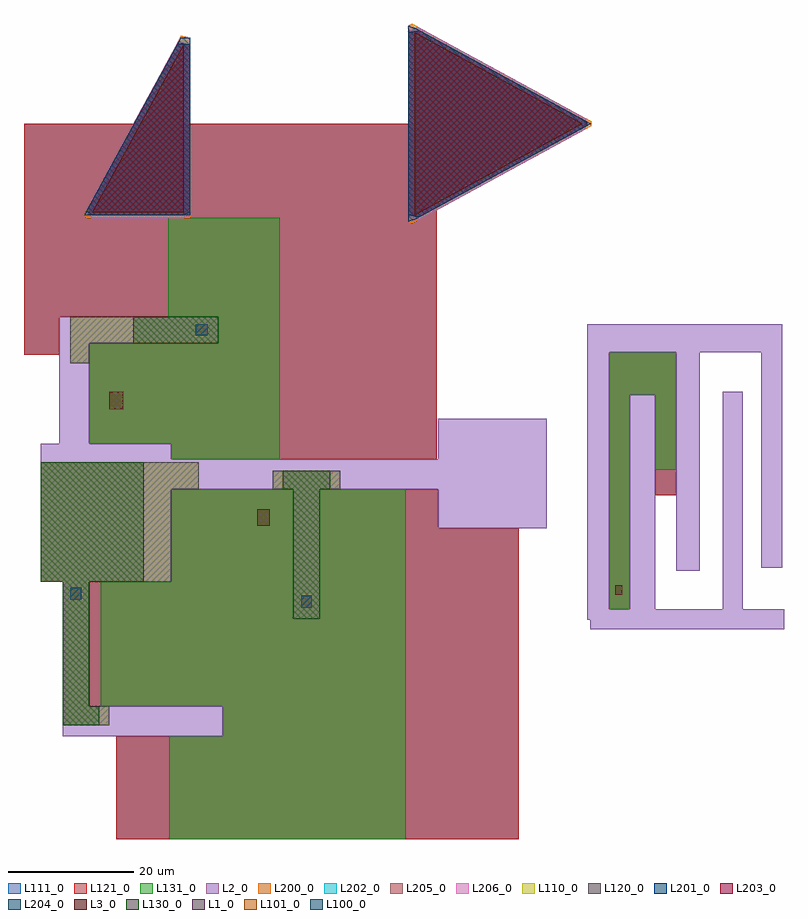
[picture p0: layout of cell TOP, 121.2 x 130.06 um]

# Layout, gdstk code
import gdstk
lib = gdstk.Library(unit=1e-6, precision=1e-09)
def R(c, l, rs):  # rectangles x0, y0, x1, y1
    for r in rs: c.add(gdstk.rectangle(r[:2], r[2:], *l))
def P(c, l, *ps):  # polygons
    for p in ps: c.add(gdstk.Polygon(p, *l))
L1_0 = (1, 0)
L2_0 = (2, 0)
L3_0 = (3, 0)
L100_0 = (100, 0)
L101_0 = (101, 0)
L110_0 = (110, 0)
L111_0 = (111, 0)
L120_0 = (120, 0)
L121_0 = (121, 0)
L130_0 = (130, 0)
L131_0 = (131, 0)
L200_0 = (200, 0)
L201_0 = (201, 0)
L202_0 = (202, 0)
L203_0 = (203, 0)
L204_0 = (204, 0)
L205_0 = (205, 0)
L206_0 = (206, 0)

top = lib.new_cell('TOP')
R(top, L1_0, [(9.6,-10.5,11.3,-8.6), (9.6,-10.5,11.3,-8.6), (-27.2,-9.2,-25.5,-7.3), (59.7,-8.4,60.8,-6.9), (2.6,2.6,4.6,5.2), (-21,21.2,-18.8,24), (-7.2,33,-5.3,34.7)])
R(top, L2_0, [(55.7,-13.9,86.6,-10.7), (55.2,-12.4,58.7,32), (62,-11.4,66.1,23.5), (76.8,-10.7,80,24), (-31.9,-6.3,-11.1,15.7), (69.4,-4.6,73.2,31.7), (83,-4.1,86.3,32), (31.5,2.2,48.8,19.7), (55.2,30.3,86.3,34.7)])
P(top, L2_0, [(8.3,-12.2),(8.3,8.4),(-13,8.4),(-13,13.2),(12.5,13.2),(12.5,-12.2)],
  [(8.3,-12.2),(8.3,8.4),(-13,8.4),(-13,13.2),(12.5,13.2),(12.5,-12.2)],
  [(-29,10.4),(-29,35.9),(-3.6,35.9),(-3.6,31.7),(-24.2,31.7),(-24.2,10.4)],
  [(-28.4,-31),(-28.4,-5.6),(-24.2,-5.6),(-24.2,-26.2),(-2.9,-26.2),(-2.9,-31)],
  [(8.4,-12.2),(8.4,13.2),(33.9,13.2),(33.9,8.4),(12.6,8.4),(12.6,-12.2)])
P(top, L3_0, [(-23.7,52.6),(-9.1,79.4),(-9.1,52.6)],
  [(27.7,66.7),(27.7,81.3),(54.5,66.7)],
  [(27.7,52.1),(27.7,66.7),(54.5,66.7)])
R(top, L100_0, [(9.6,-10.5,11.3,-8.6), (-27.2,-9.2,-25.5,-7.3), (-7.2,33,-5.3,34.7)])
R(top, L101_0, [(9.6,-10.5,11.3,-8.6), (9.6,-10.5,11.3,-8.6), (-27.2,-9.2,-25.5,-7.3), (59.7,-8.4,60.8,-6.9), (2.6,2.6,4.6,5.2), (-21,21.2,-18.8,24), (-7.2,33,-5.3,34.7)])
P(top, L110_0, [(-27.2,28.5),(-27.2,35.9),(-3.6,35.9),(-3.6,31.7),(-24.2,31.7),(-24.2,28.5)],
  [(-28.4,-29.2),(-28.4,-6.3),(-31.9,-6.3),(-31.9,12.7),(-6.7,12.7),(-6.7,8.4),(-11.1,8.4),(-11.1,-6.3),(-24.2,-6.3),(-24.2,-26.2),(-21,-26.2),(-21,-29.2)],
  [(8.3,-12.2),(8.3,8.4),(5.1,8.4),(5.1,11.4),(15.8,11.4),(15.8,8.4),(12.6,8.4),(12.6,-12.2)])
P(top, L111_0, [(-11.1,13.2),(-11.1,15.7),(-24.2,15.7),(-24.2,31.7),(-3.6,31.7),(-3.6,35.9),(-29,35.9),(-29,29.9),(-34.6,29.9),(-34.6,66.7),(31.2,66.7),(31.2,13.2)],
  [(58.7,-10.7),(58.7,30.3),(69.4,30.3),(69.4,7.5),(66.1,7.5),(66.1,23.5),(62,23.5),(62,-10.7)],
  [(-19.9,-47.4),(-19.9,-31),(-2.9,-31),(-2.9,-26.2),(-24.2,-26.2),(-24.2,-6.3),(-11.1,-6.3),(-11.1,8.4),(8.3,8.4),(8.3,-12.2),(12.6,-12.2),(12.6,8.4),(31.5,8.4),(31.5,2.2),(44.3,2.2),(44.3,-47.4)])
P(top, L120_0, [(-27.2,28.5),(-27.2,35.9),(-3.6,35.9),(-3.6,31.7),(-24.2,31.7),(-24.2,28.5)],
  [(-28.4,-29.2),(-28.4,-6.3),(-31.9,-6.3),(-31.9,12.7),(-6.7,12.7),(-6.7,8.4),(-11.1,8.4),(-11.1,-6.3),(-24.2,-6.3),(-24.2,-26.2),(-21,-26.2),(-21,-29.2)],
  [(8.3,-12.2),(8.3,8.4),(5.1,8.4),(5.1,11.4),(15.8,11.4),(15.8,8.4),(12.6,8.4),(12.6,-12.2)])
P(top, L121_0, [(-11.1,13.2),(-11.1,15.7),(-24.2,15.7),(-24.2,31.7),(-3.6,31.7),(-3.6,35.9),(-29,35.9),(-29,29.9),(-34.6,29.9),(-34.6,66.7),(31.2,66.7),(31.2,13.2)],
  [(58.7,-10.7),(58.7,30.3),(69.4,30.3),(69.4,7.5),(66.1,7.5),(66.1,23.5),(62,23.5),(62,-10.7)],
  [(-19.9,-47.4),(-19.9,-31),(-2.9,-31),(-2.9,-26.2),(-24.2,-26.2),(-24.2,-6.3),(-11.1,-6.3),(-11.1,8.4),(8.3,8.4),(8.3,-12.2),(12.6,-12.2),(12.6,8.4),(31.5,8.4),(31.5,2.2),(44.3,2.2),(44.3,-47.4)])
R(top, L130_0, [(-17.2,31.7,-3.6,35.9)])
P(top, L130_0, [(-28.4,-29.2),(-28.4,-6.3),(-31.9,-6.3),(-31.9,12.7),(-15.5,12.7),(-15.5,-6.3),(-24.2,-6.3),(-24.2,-26.2),(-22.6,-26.2),(-22.6,-29.2)],
  [(8.3,-12.2),(8.3,8.4),(6.7,8.4),(6.7,11.4),(14.2,11.4),(14.2,8.4),(12.6,8.4),(12.6,-12.2)])
P(top, L131_0, [(-11.1,13.2),(-11.1,15.7),(-24.2,15.7),(-24.2,31.7),(-3.6,31.7),(-3.6,35.9),(-11.6,35.9),(-11.6,51.7),(6.2,51.7),(6.2,13.2)],
  [(58.7,-10.7),(58.7,30.3),(69.4,30.3),(69.4,11.5),(66.1,11.5),(66.1,23.5),(62,23.5),(62,-10.7)],
  [(-11.4,-47.4),(-11.4,-31),(-2.9,-31),(-2.9,-26.2),(-22.4,-26.2),(-22.4,-6.3),(-11.1,-6.3),(-11.1,8.4),(8.3,8.4),(8.3,-12.2),(12.6,-12.2),(12.6,8.4),(26.3,8.4),(26.3,-47.4)])
P(top, L200_0, [(-24.7,51.6),(-25.057,52.2),(-9.5,80.757),(-8.1,80.4),(-8.1,51.6)],
  [(27.3,50.743),(26.7,51.1),(26.7,82.3),(27.3,82.657),(55.857,67.1),(55.857,66.3)])
P(top, L201_0, [(-25.009,52.1),(-9.599,80.387),(-8.1,80.4),(-8.1,52.1)],
  [(26.7,51.1),(26.7,82.3),(27.725,82.026),(55.857,66.7),(27.725,51.374)])
P(top, L202_0, [(-23.7,51.6),(-24.578,53.078),(-9.978,79.878),(-8.1,79.4),(-8.1,52.6),(-9.1,51.6)],
  [(28.178,51.222),(26.7,52.1),(26.7,81.3),(28.178,82.178),(54.978,67.578),(54.978,65.822)])
P(top, L203_0, [(-23.7,52.1),(-24.665,52.731),(-10.065,79.531),(-8.1,79.4),(-8.1,52.6),(-9.1,52.1)],
  [(28.437,51.762),(26.7,52.1),(26.7,81.3),(28.437,81.638),(55.237,67.038),(55.237,66.362)])
P(top, L204_0, [(-23.7,52.1),(-24.665,52.731),(-10.065,79.531),(-8.1,79.4),(-8.1,52.6),(-9.1,52.1)],
  [(28.437,51.762),(26.7,52.1),(26.7,81.3),(28.437,81.638),(55.237,67.038),(55.237,66.362)])
P(top, L205_0, [(-23.7,51.6),(-24.578,53.078),(-9.978,79.878),(-8.1,79.4),(-8.1,52.6),(-9.1,51.6)],
  [(28.178,51.222),(26.7,52.1),(26.7,81.3),(28.178,82.178),(54.978,67.578),(54.978,65.822)])
P(top, L206_0, [(-23.7,51.6),(-24.578,53.078),(-9.978,79.878),(-8.1,79.4),(-8.1,52.6),(-9.1,51.6)],
  [(28.178,51.222),(26.7,52.1),(26.7,81.3),(28.178,82.178),(54.978,67.578),(54.978,65.822)])

lib.write_gds('TOP.gds')
